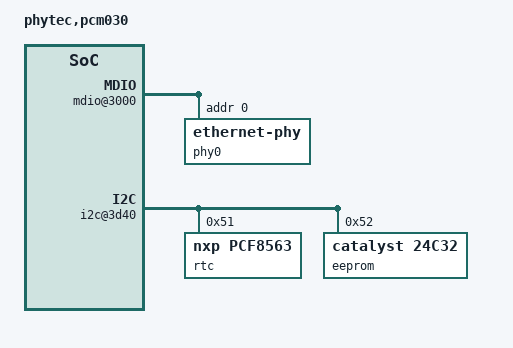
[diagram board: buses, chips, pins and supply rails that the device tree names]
// SPDX-License-Identifier: GPL-2.0-or-later
/*
 * phyCORE-MPC5200B-tiny (pcm030) board Device Tree Source
 *
 * Copyright 2006 Pengutronix
 * Sascha Hauer <s.hauer@pengutronix.de>
 * Copyright 2007 Pengutronix
 * Juergen Beisert <j.beisert@pengutronix.de>
 */

/include/ "mpc5200b.dtsi"

&gpt0 { fsl,has-wdt; };
&gpt2 { gpio-controller; };
&gpt3 { gpio-controller; };
&gpt4 { gpio-controller; };
&gpt5 { gpio-controller; };
&gpt6 { gpio-controller; };
&gpt7 { gpio-controller; };

/ {
	model = "phytec,pcm030";
	compatible = "phytec,pcm030";

	soc5200@f0000000 {
		audioplatform: psc@2000 { /* PSC1 in ac97 mode */
			compatible = "mpc5200b-psc-ac97","fsl,mpc5200b-psc-ac97";
			cell-index = <0>;
		};

		/* PSC2 port is used by CAN1/2 */
		psc@2200 {
			status = "disabled";
		};

		psc@2400 { /* PSC3 in UART mode */
			compatible = "fsl,mpc5200b-psc-uart","fsl,mpc5200-psc-uart";
		};

		/* PSC4 is ??? */
		psc@2600 {
			status = "disabled";
		};

		/* PSC5 is ??? */
		psc@2800 {
			status = "disabled";
		};

		psc@2c00 { /* PSC6 in UART mode */
			compatible = "fsl,mpc5200b-psc-uart","fsl,mpc5200-psc-uart";
		};

		ethernet@3000 {
			phy-handle = <&phy0>;
		};

		mdio@3000 {
			phy0: ethernet-phy@0 {
				reg = <0>;
			};
		};

		i2c@3d40 {
			rtc@51 {
				compatible = "nxp,pcf8563";
				reg = <0x51>;
			};
			eeprom@52 {
				compatible = "catalyst,24c32", "atmel,24c32";
				reg = <0x52>;
				pagesize = <32>;
			};
		};

		sram@8000 {
			compatible = "fsl,mpc5200b-sram","fsl,mpc5200-sram";
			reg = <0x8000 0x4000>;
		};
	};

	pci@f0000d00 {
		interrupt-map-mask = <0xf800 0 0 7>;
		interrupt-map = <0xc000 0 0 1 &mpc5200_pic 0 0 3 // 1st slot
				 0xc000 0 0 2 &mpc5200_pic 1 1 3
				 0xc000 0 0 3 &mpc5200_pic 1 2 3
				 0xc000 0 0 4 &mpc5200_pic 1 3 3

				 0xc800 0 0 1 &mpc5200_pic 1 1 3 // 2nd slot
				 0xc800 0 0 2 &mpc5200_pic 1 2 3
				 0xc800 0 0 3 &mpc5200_pic 1 3 3
				 0xc800 0 0 4 &mpc5200_pic 0 0 3>;
		ranges = <0x42000000 0 0x80000000 0x80000000 0 0x20000000
			  0x02000000 0 0xa0000000 0xa0000000 0 0x10000000
			  0x01000000 0 0x00000000 0xb0000000 0 0x01000000>;
	};

	localbus {
		status = "disabled";
	};

	sound {
		compatible = "phytec,pcm030-audio-fabric";
		asoc-platform = <&audioplatform>;
	};
};
